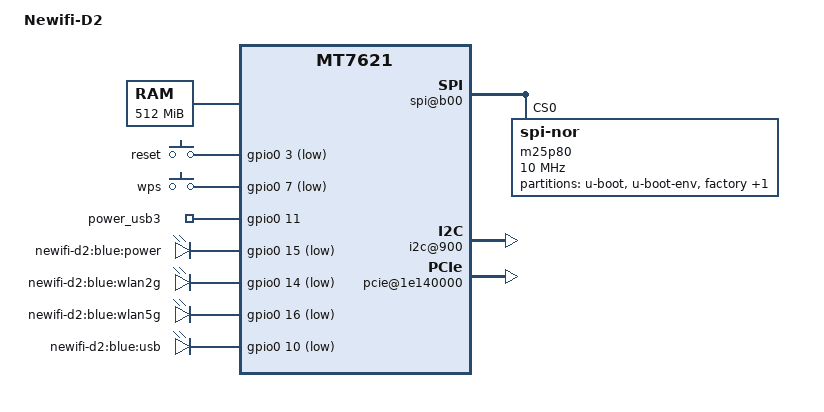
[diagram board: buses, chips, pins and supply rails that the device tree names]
/dts-v1/;

/include/ "mt7621.dtsi"

/ {
	compatible = "newifi-d2", "mediatek,mt7621-soc";
	model = "Newifi-D2";

	memory@0 {
		device_type = "memory";
		reg = <0x0 0x1c000000>, <0x20000000 0x4000000>;
	};

	chosen {
		bootargs = "console=ttyS0,57600";
	};

	palmbus@1E000000 {
		spi@b00 {
			status = "okay";

			m25p80@0 {
				#address-cells = <1>;
				#size-cells = <1>;
				compatible = "jedec,spi-nor";
				reg = <0 0>;
				spi-max-frequency = <10000000>;

				partition@0 {
					label = "u-boot";
					reg = <0x0 0x30000>;
				};

				partition@30000 {
					label = "u-boot-env";
					reg = <0x30000 0x10000>;
				};

				factory: partition@40000 {
					label = "factory";
					reg = <0x40000 0x10000>;
				};

				partition@50000 {
					label = "firmware";
					reg = <0x50000 0x1fb0000>;
				};

			};
		};

		i2c@900 {
			compatible = "ralink,i2c-mt7621";
			reg = <0x900 0x100>;
			#address-cells = <1>;
			#size-cells = <0>;
			pinctrl-names = "default";
			pinctrl-0 = <&i2c_pins>;
			status = "okay";
		};
	};

	pcie@1e140000 {
		status = "okay";

		pcie0 {
			mt76@0,0 {
				reg = <0x0000 0 0 0 0>;
				device_type = "pci";
				mediatek,mtd-eeprom = <&factory 0x8000>;
				mediatek,5ghz = <0>;
			};
		};

		pcie1 {
			mt76@1,0 {
				reg = <0x0000 0 0 0 0>;
				device_type = "pci";
				mediatek,mtd-eeprom = <&factory 0x0000>;
				mediatek,2ghz = <0>;
			};
		};
	};

	ethernet@1e100000 {
		mtd-mac-address = <&factory 0xe000>;
	};

	gpio-keys-polled {
		compatible = "gpio-keys-polled";
		#address-cells = <1>;
		#size-cells = <0>;
		poll-interval = <20>;

		reset {
			label = "reset";
			gpios = <&gpio0 3 1>;
			linux,code = <0x198>;
		};

		wps {
			label = "wps";
			gpios = <&gpio0 7 1>;
			linux,code = <0x211>;
		};
	};

	gpio_export {
		compatible = "gpio-export";
		#size-cells = <0>;

		power_usb3 {
			gpio-export,name = "power_usb3";
			gpio-export,output = <1>;
			gpios = <&gpio0 11 0>;
		};
	};

	gpio-leds {
		compatible = "gpio-leds";

		led_power_blue: power-blue {
			label = "newifi-d2:blue:power";
			gpios = <&gpio0 15 1>;
		};

		wlan2g {
			label = "newifi-d2:blue:wlan2g";
			gpios = <&gpio0 14 1>;
		};

		wlan5g {
			label = "newifi-d2:blue:wlan5g";
			gpios = <&gpio0 16 1>;
		};

		usb {
			label = "newifi-d2:blue:usb";
			gpios = <&gpio0 10 1>;
			trigger-sources = <&xhci_ehci_port1>, <&ehci_port2>;
			linux,default-trigger = "usbport";
		};
	};

	pinctrl {
		state_default: pinctrl0 {
			gpio {
				ralink,group = "i2c", "jtag", "uart2", "uart3";
				ralink,function = "gpio";
			};
		};
	};

};
